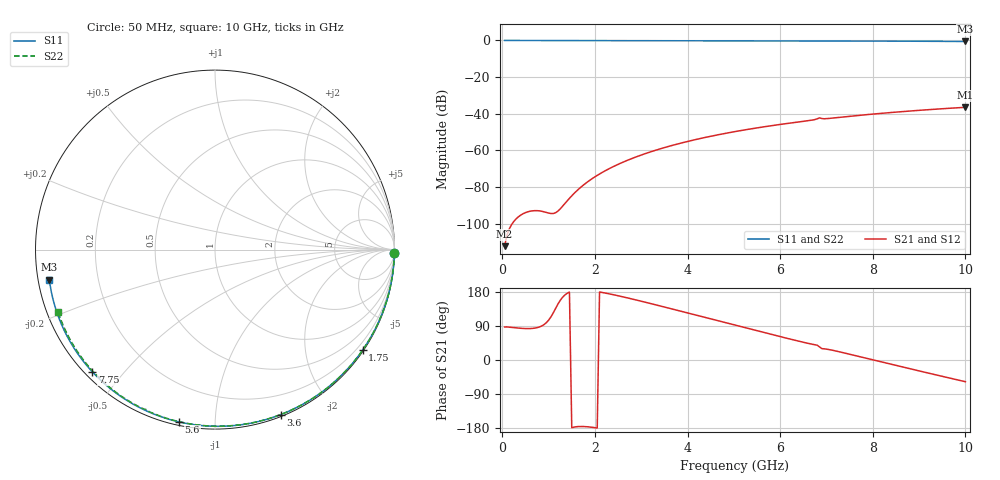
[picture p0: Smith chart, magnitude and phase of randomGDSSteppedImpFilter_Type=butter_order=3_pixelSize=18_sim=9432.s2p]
! freq	dB(S11)	phase(S11)	dB(S12)	phase(S12)
!  dB(S21)	phase(S21)	dB(S22)	phase(S22)
!S-par simulation data
#  GHz  S  DB  R 50
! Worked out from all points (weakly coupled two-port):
!   200 points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, 50 MHz to 10 GHz, reference 50 ohm
!   highest |S21| = -36.48 dB at 10 GHz (marker M1); lowest = -112.3 dB at 50 MHz (marker M2)
!   lowest |S11| = -0.6 dB at 10 GHz (marker M3), VSWR 31.33, Z = 1.61 - j4.52 ohm
!   |S11| at or under -10 dB: nowhere
!   |S22| runs from -0.5 to 0.0 dB; largest |S21 - S12| = 0
!   S11 on the Smith chart (normalised r, x): 50 MHz: open; 1.75 GHz: 0.03, -3.25; 3.6 GHz: 0.02, -1.48; 5.6 GHz: 0.02, -0.81; 7.75 GHz: 0.02, -0.41; 10 GHz: 0.03, -0.09
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0.05  -0.00 -1.0  -112.27 87.2  -112.27 87.2  -0.00 -0.9
0.45  -0.01 -8.9  -94.55 83.2  -94.55 83.2  -0.01 -8.2
0.85  -0.02 -16.8  -93.21 89.7  -93.21 89.7  -0.02 -15.5
1.7  -0.04 -33.3  -79.98 -175.4  -79.98 -175.4  -0.04 -30.7
1.75  -0.04 -34.2  -78.94 -175.5  -78.94 -175.5  -0.04 -31.5
2.05  -0.05 -39.9  -73.63 -179.5  -73.63 -179.5  -0.05 -36.8
2.25  -0.06 -43.7  -70.74 176.1  -70.74 176.1  -0.05 -40.3
2.45  -0.06 -47.4  -68.20 170.9  -68.20 170.9  -0.06 -43.7
2.9  -0.07 -55.7  -63.45 158.1  -63.45 158.1  -0.07 -51.4
3.4  -0.09 -64.7  -59.22 142.9  -59.22 142.9  -0.08 -59.8
3.6  -0.09 -68.2  -57.76 136.7  -57.76 136.7  -0.08 -63.1
4.3  -0.11 -80.3  -53.37 114.8  -53.37 114.8  -0.11 -74.5
5.05  -0.14 -92.9  -49.62 91.2  -49.62 91.2  -0.13 -86.2
5.6  -0.17 -101.8  -47.32 74.1  -47.32 74.1  -0.16 -94.6
6.15  -0.20 -110.5  -45.31 57.2  -45.31 57.2  -0.18 -102.9
6.7  -0.23 -119.1  -43.43 41.4  -43.43 41.4  -0.22 -111.0
6.85  -0.24 -121.4  -42.24 34.5  -42.24 34.5  -0.26 -113.2
6.95  -0.25 -122.9  -42.75 29.6  -42.75 29.6  -0.24 -114.5
7.75  -0.31 -135.1  -40.77 7.9  -40.77 7.9  -0.29 -126.1
8.35  -0.37 -144.2  -39.42 -9.8  -39.42 -9.8  -0.35 -134.6
9.2  -0.46 -157.2  -37.78 -34.5  -37.78 -34.5  -0.43 -146.8
10  -0.55 -169.7  -36.48 -57.3  -36.48 -57.3  -0.53 -158.5
